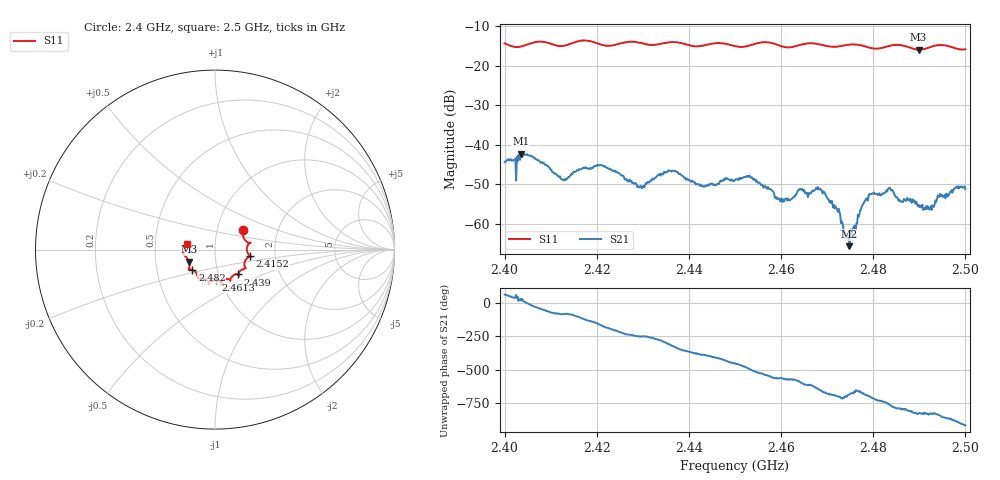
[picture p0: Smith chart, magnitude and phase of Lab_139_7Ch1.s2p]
# Hz S RI R 50
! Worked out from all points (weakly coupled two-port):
!   601 points, 2.4 GHz to 2.5 GHz, reference 50 ohm
!   highest |S21| = -42.26 dB at 2.4035 GHz (marker M1); lowest = -65.6 dB at 2.4748 GHz (marker M2)
!   lowest |S11| = -15.9 dB at 2.4898 GHz (marker M3), VSWR 1.38, Z = 37 - j5.04 ohm
!   |S11| at or under -10 dB: start of sweep to end of sweep
!   S12 and S22 are empty: the file has one direction only
!   S11 on the Smith chart (normalised r, x): 2.4 GHz: 1.33, +0.31; 2.4152 GHz: 1.48, -0.11; 2.439 GHz: 1.24, -0.36; 2.4613 GHz: 0.96, -0.34; 2.482 GHz: 0.76, -0.18; 2.5 GHz: 0.72, +0.05
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2.4e9  0.1564 0.1112  0.00276 0.00538  0 0  0 0
2.4035e9  0.1665 0.0542  0.00666 0.00388  0 0  0 0
2.412667e9  0.1781 -0.00481  0.000391 -0.00356  0 0  0 0
2.415167e9  0.1946 -0.0366  -0.000402 -0.00451  0 0  0 0
2.416667e9  0.204 -0.0422  -0.002 -0.0045  0 0  0 0
2.421333e9  0.1752 -0.0515  -0.00539 -0.000723  0 0  0 0
2.429333e9  0.1647 -0.1062  -0.000909 0.00274  0 0  0 0
2.433333e9  0.1322 -0.132  0.000345 0.00415  0 0  0 0
2.439e9  0.1287 -0.1386  0.00381 0.000304  0 0  0 0
2.443167e9  0.09 -0.1565  0.00264 -0.00132  0 0  0 0
2.45e9  0.0689 -0.1636  -0.000101 -0.00363  0 0  0 0
2.453167e9  0.0379 -0.1767  -0.0028 -0.00299  0 0  0 0
2.461333e9  0.00717 -0.1707  -0.00172 0.000978  0 0  0 0
2.466667e9  -0.0335 -0.1899  -0.000594 0.00249  0 0  0 0
2.469167e9  -0.0367 -0.1783  0.0014 0.00217  0 0  0 0
2.474833e9  -0.0909 -0.1613  0.000421 0.000311  0 0  0 0
2.478833e9  -0.0999 -0.14  0.00176 0.000877  0 0  0 0
2.482e9  -0.1262 -0.1122  0.0023 -0.000631  0 0  0 0
2.483333e9  -0.1393 -0.1101  0.00231 -0.00158  0 0  0 0
2.489833e9  -0.1453 -0.0663  -0.000392 -0.00169  0 0  0 0
2.492667e9  -0.1718 -0.0306  -0.00046 -0.00143  0 0  0 0
2.5e9  -0.1587 0.033  -0.00267 0.000683  0 0  0 0
